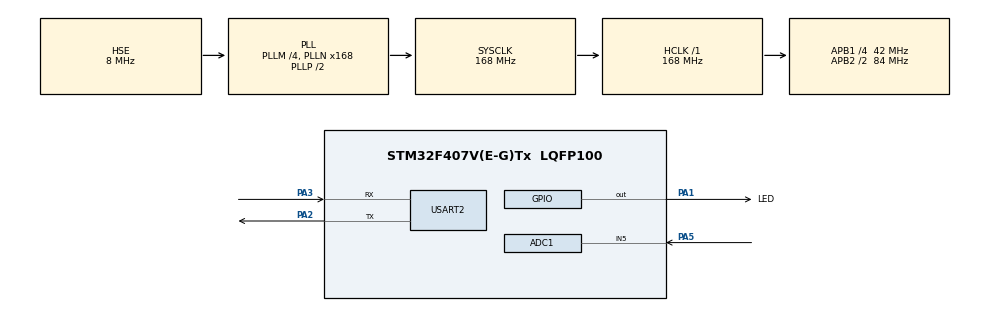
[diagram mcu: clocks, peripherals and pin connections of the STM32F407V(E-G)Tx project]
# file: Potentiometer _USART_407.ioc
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ADC1.Channel-0\#ChannelRegularConversion=ADC_CHANNEL_5
ADC1.NbrOfConversionFlag=1
ADC1.Rank-0\#ChannelRegularConversion=1
ADC1.SamplingTime-0\#ChannelRegularConversion=ADC_SAMPLETIME_3CYCLES
ADC1.master=1
Mcu.Family=STM32F4
Mcu.Name=STM32F407V(E-G)Tx
Mcu.Package=LQFP100
NVIC.PriorityGroup=NVIC_PRIORITYGROUP_4
NVIC.TIM8_TRG_COM_TIM14_IRQn=true\:15\:0\:false\:false\:true\:false\:true
NVIC.TimeBase=TIM8_TRG_COM_TIM14_IRQn
NVIC.TimeBaseIP=TIM14
PA1.GPIO_Label=LED
PA1.Signal=GPIO_Output
PA13.Mode=Trace_Asynchronous_SW
PA13.Signal=SYS_JTMS-SWDIO
PA14.Mode=Trace_Asynchronous_SW
PA14.Signal=SYS_JTCK-SWCLK
PA2.Mode=Asynchronous
PA2.Signal=USART2_TX
PA3.Mode=Asynchronous
PA3.Signal=USART2_RX
PA5.Signal=ADCx_IN5
PB3.Mode=Trace_Asynchronous_SW
PB3.Signal=SYS_JTDO-SWO
PH0-OSC_IN.Mode=HSE-External-Oscillator
PH0-OSC_IN.Signal=RCC_OSC_IN
PH1-OSC_OUT.Mode=HSE-External-Oscillator
PH1-OSC_OUT.Signal=RCC_OSC_OUT
ProjectManager.HeapSize=0x200
ProjectManager.StackSize=0x400
ProjectManager.TargetToolchain=STM32CubeIDE
RCC.48MHZClocksFreq_Value=84000000
RCC.AHBFreq_Value=168000000
RCC.APB1CLKDivider=RCC_HCLK_DIV4
RCC.APB1Freq_Value=42000000
RCC.APB1TimFreq_Value=84000000
RCC.APB2CLKDivider=RCC_HCLK_DIV2
RCC.APB2Freq_Value=84000000
RCC.APB2TimFreq_Value=168000000
RCC.CortexFreq_Value=168000000
RCC.HCLKFreq_Value=168000000
RCC.HSE_VALUE=8000000
RCC.HSI_VALUE=16000000
RCC.LSE_VALUE=32768
RCC.PLLM=4
RCC.PLLN=168
RCC.PLLSourceVirtual=RCC_PLLSOURCE_HSE
RCC.SYSCLKFreq_VALUE=168000000
RCC.SYSCLKSource=RCC_SYSCLKSOURCE_PLLCLK
RCC.VCOOutputFreq_Value=336000000
SH.ADCx_IN5.0=ADC1_IN5,IN5
USART2.VirtualMode=VM_ASYNC
VP_SYS_VS_tim14.Mode=TIM14
board=custom

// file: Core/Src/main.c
/* USER CODE BEGIN Header */
/**
  ******************************************************************************
  * @file           : main.c
  * @brief          : Main program body
  ******************************************************************************
  * @attention
  *
  * <h2><center>&copy; Copyright (c) 2021 STMicroelectronics.
  * All rights reserved.</center></h2>
  *
  * This software component is licensed by ST under BSD 3-Clause license,
  * the "License"; You may not use this file except in compliance with the
  * License. You may obtain a copy of the License at:
  *                        opensource.org/licenses/BSD-3-Clause
  *
  ******************************************************************************
  */
/* USER CODE END Header */
#include "main.h"

/* USER CODE BEGIN Includes */
#include <string.h>
#include <stdio.h>
/* USER CODE END Includes */

ADC_HandleTypeDef hadc1;

UART_HandleTypeDef huart2;

void SystemClock_Config(void);
static void MX_GPIO_Init(void);
static void MX_ADC1_Init(void);
static void MX_USART2_UART_Init(void);

/* USER CODE BEGIN 0 */
int16_t value = 0;           // For function "map"
int16_t in_max = 4095;       // max value of potentiometer
int8_t in_min = 0;           // min value of potentiometer
unsigned int out_max = 9001; // max value of new diapason
int8_t out_min = 0;          // min value of new diapason
/* USER CODE END 0 */

int main(void)
{
  /* USER CODE BEGIN 1 */
	  uint16_t raw;
	  char msg[10];
  /* USER CODE END 1 */

  /* MCU Configuration--------------------------------------------------------*/

  /* Reset of all peripherals, Initializes the Flash interface and the Systick. */
  HAL_Init();

  /* Configure the system clock */
  SystemClock_Config();

  /* Initialize all configured peripherals */
  MX_GPIO_Init();
  MX_ADC1_Init();
  MX_USART2_UART_Init();

  /* Infinite loop */
  while (1)
  {

    /* USER CODE BEGIN 3 */

	    //HAL_GPIO_WritePin(GPIOA, GPIO_PIN_1, GPIO_PIN_SET); // For measure time in a logic analyzer.

	    // Get ADC value
	    HAL_ADC_Start(&hadc1);
	    HAL_ADC_PollForConversion(&hadc1, HAL_MAX_DELAY);
	    raw = HAL_ADC_GetValue(&hadc1);

	    //HAL_GPIO_WritePin(GPIOA, GPIO_PIN_1, GPIO_PIN_RESET); // For measure time in a logic analyzer.

	    value = (raw - in_min) * (out_max - out_min) / (in_max - in_min) + out_min; // Function map

	    if (value >= 8985)
	    {
	    value = 9001;
	    }
	    else if (value <= 15)
	    {
	    value = 0;
	    }
	    else {
	    	value=value;
	    }

		sprintf(msg, "%hu\r\n", value); // Convert to string and print
	    HAL_UART_Transmit(&huart2, (uint8_t*)msg, strlen(msg), HAL_MAX_DELAY);

	    HAL_Delay(1000); // Pretend we have to do something else for a while
  }
  /* USER CODE END 3 */
}

void SystemClock_Config(void)
{
  RCC_OscInitTypeDef RCC_OscInitStruct = {0};
  RCC_ClkInitTypeDef RCC_ClkInitStruct = {0};

  /** Configure the main internal regulator output voltage
  */
  __HAL_RCC_PWR_CLK_ENABLE();
  __HAL_PWR_VOLTAGESCALING_CONFIG(PWR_REGULATOR_VOLTAGE_SCALE1);
  /** Initializes the RCC Oscillators according to the specified parameters
  * in the RCC_OscInitTypeDef structure.
  */
  RCC_OscInitStruct.OscillatorType = RCC_OSCILLATORTYPE_HSE;
  RCC_OscInitStruct.HSEState = RCC_HSE_ON;
  RCC_OscInitStruct.PLL.PLLState = RCC_PLL_ON;
  RCC_OscInitStruct.PLL.PLLSource = RCC_PLLSOURCE_HSE;
  RCC_OscInitStruct.PLL.PLLM = 4;
  RCC_OscInitStruct.PLL.PLLN = 168;
  RCC_OscInitStruct.PLL.PLLP = RCC_PLLP_DIV2;
  RCC_OscInitStruct.PLL.PLLQ = 4;
  if (HAL_RCC_OscConfig(&RCC_OscInitStruct) != HAL_OK)
  {
    Error_Handler();
  }
  /** Initializes the CPU, AHB and APB buses clocks
  */
  RCC_ClkInitStruct.ClockType = RCC_CLOCKTYPE_HCLK|RCC_CLOCKTYPE_SYSCLK
                              |RCC_CLOCKTYPE_PCLK1|RCC_CLOCKTYPE_PCLK2;
  RCC_ClkInitStruct.SYSCLKSource = RCC_SYSCLKSOURCE_PLLCLK;
  RCC_ClkInitStruct.AHBCLKDivider = RCC_SYSCLK_DIV1;
  RCC_ClkInitStruct.APB1CLKDivider = RCC_HCLK_DIV4;
  RCC_ClkInitStruct.APB2CLKDivider = RCC_HCLK_DIV2;

  if (HAL_RCC_ClockConfig(&RCC_ClkInitStruct, FLASH_LATENCY_5) != HAL_OK)
  {
    Error_Handler();
  }
}

static void MX_ADC1_Init(void)
{

  ADC_ChannelConfTypeDef sConfig = {0};

  /** Configure the global features of the ADC (Clock, Resolution, Data Alignment and number of conversion)
  */
  hadc1.Instance = ADC1;
  hadc1.Init.ClockPrescaler = ADC_CLOCK_SYNC_PCLK_DIV4;
  hadc1.Init.Resolution = ADC_RESOLUTION_12B;
  hadc1.Init.ScanConvMode = DISABLE;
  hadc1.Init.ContinuousConvMode = DISABLE;
  hadc1.Init.DiscontinuousConvMode = DISABLE;
  hadc1.Init.ExternalTrigConvEdge = ADC_EXTERNALTRIGCONVEDGE_NONE;
  hadc1.Init.ExternalTrigConv = ADC_SOFTWARE_START;
  hadc1.Init.DataAlign = ADC_DATAALIGN_RIGHT;
  hadc1.Init.NbrOfConversion = 1;
  hadc1.Init.DMAContinuousRequests = DISABLE;
  hadc1.Init.EOCSelection = ADC_EOC_SINGLE_CONV;
  if (HAL_ADC_Init(&hadc1) != HAL_OK)
  {
    Error_Handler();
  }
  /** Configure for the selected ADC regular channel its corresponding rank in the sequencer and its sample time.
  */
  sConfig.Channel = ADC_CHANNEL_5;
  sConfig.Rank = 1;
  sConfig.SamplingTime = ADC_SAMPLETIME_3CYCLES;
  if (HAL_ADC_ConfigChannel(&hadc1, &sConfig) != HAL_OK)
  {
    Error_Handler();
  }

}

static void MX_USART2_UART_Init(void)
{

  huart2.Instance = USART2;
  huart2.Init.BaudRate = 115200;
  huart2.Init.WordLength = UART_WORDLENGTH_8B;
  huart2.Init.StopBits = UART_STOPBITS_1;
  huart2.Init.Parity = UART_PARITY_NONE;
  huart2.Init.Mode = UART_MODE_TX_RX;
  huart2.Init.HwFlowCtl = UART_HWCONTROL_NONE;
  huart2.Init.OverSampling = UART_OVERSAMPLING_16;
  if (HAL_UART_Init(&huart2) != HAL_OK)
  {
    Error_Handler();
  }

}

static void MX_GPIO_Init(void)
{
  GPIO_InitTypeDef GPIO_InitStruct = {0};

  /* GPIO Ports Clock Enable */
  __HAL_RCC_GPIOH_CLK_ENABLE();
  __HAL_RCC_GPIOA_CLK_ENABLE();
  __HAL_RCC_GPIOB_CLK_ENABLE();

  /*Configure GPIO pin Output Level */
  HAL_GPIO_WritePin(LED_GPIO_Port, LED_Pin, GPIO_PIN_RESET);

  /*Configure GPIO pin : LED_Pin */
  GPIO_InitStruct.Pin = LED_Pin;
  GPIO_InitStruct.Mode = GPIO_MODE_OUTPUT_PP;
  GPIO_InitStruct.Pull = GPIO_NOPULL;
  GPIO_InitStruct.Speed = GPIO_SPEED_FREQ_LOW;
  HAL_GPIO_Init(LED_GPIO_Port, &GPIO_InitStruct);

}

void HAL_TIM_PeriodElapsedCallback(TIM_HandleTypeDef *htim)
{
  if (htim->Instance == TIM14) {
    HAL_IncTick();
  }
}

void Error_Handler(void)
{
  __disable_irq();
  while (1)
  {
  }
}

/************************ (C) COPYRIGHT STMicroelectronics *****END OF FILE****/
